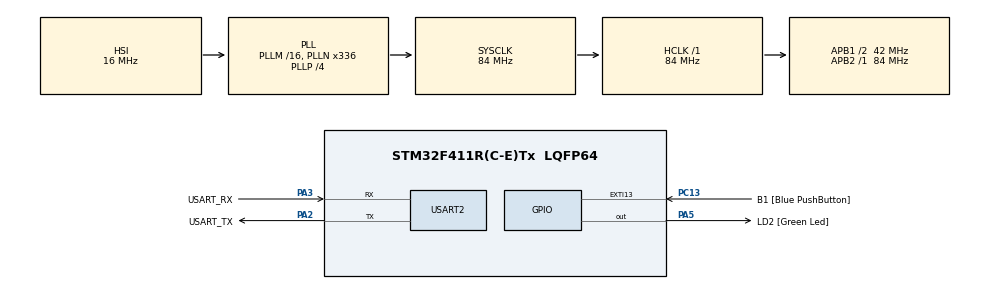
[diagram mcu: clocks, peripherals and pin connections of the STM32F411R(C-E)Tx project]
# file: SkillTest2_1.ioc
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Mcu.Family=STM32F4
Mcu.Name=STM32F411R(C-E)Tx
Mcu.Package=LQFP64
NVIC.PriorityGroup=NVIC_PRIORITYGROUP_0
NVIC.USART2_IRQn=true\:0\:0\:false\:false\:true\:true\:true\:true
PA13.GPIO_Label=TMS
PA13.Mode=Serial_Wire
PA13.Signal=SYS_JTMS-SWDIO
PA14.GPIO_Label=TCK
PA14.Mode=Serial_Wire
PA14.Signal=SYS_JTCK-SWCLK
PA2.GPIO_Label=USART_TX
PA2.Mode=Asynchronous
PA2.Signal=USART2_TX
PA3.GPIO_Label=USART_RX
PA3.Mode=Asynchronous
PA3.Signal=USART2_RX
PA5.GPIO_Label=LD2 [Green Led]
PA5.Signal=GPIO_Output
PB3.GPIO_Label=SWO
PB3.Signal=SYS_JTDO-SWO
PC13-ANTI_TAMP.GPIO_Label=B1 [Blue PushButton]
PC13-ANTI_TAMP.GPIO_ModeDefaultEXTI=GPIO_MODE_IT_FALLING
PC13-ANTI_TAMP.Signal=GPXTI13
PC14-OSC32_IN.Mode=LSE-External-Oscillator
PC14-OSC32_IN.Signal=RCC_OSC32_IN
PC15-OSC32_OUT.Mode=LSE-External-Oscillator
PC15-OSC32_OUT.Signal=RCC_OSC32_OUT
PH0\ -\ OSC_IN.Mode=HSE-External-Clock-Source
PH0\ -\ OSC_IN.Signal=RCC_OSC_IN
PH1\ -\ OSC_OUT.Mode=HSE-External-Clock-Source
PH1\ -\ OSC_OUT.Signal=RCC_OSC_OUT
ProjectManager.HeapSize=0x200
ProjectManager.StackSize=0x400
ProjectManager.TargetToolchain=STM32CubeIDE
RCC.48MHZClocksFreq_Value=84000000
RCC.AHBFreq_Value=84000000
RCC.APB1CLKDivider=RCC_HCLK_DIV2
RCC.APB1Freq_Value=42000000
RCC.APB1TimFreq_Value=84000000
RCC.APB2Freq_Value=84000000
RCC.APB2TimFreq_Value=84000000
RCC.CortexFreq_Value=84000000
RCC.FLatency-AdvancedSettings=FLASH_LATENCY_2
RCC.HCLKFreq_Value=84000000
RCC.HSE_VALUE=8000000
RCC.HSI_VALUE=16000000
RCC.PLLN=336
RCC.PLLP=RCC_PLLP_DIV4
RCC.SYSCLKFreq_VALUE=84000000
RCC.SYSCLKSource=RCC_SYSCLKSOURCE_PLLCLK
RCC.VCOOutputFreq_Value=336000000
USART2.VirtualMode=VM_ASYNC
board=NUCLEO-F411RE

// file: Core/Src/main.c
/* USER CODE BEGIN Header */
/**
  ******************************************************************************
  * @file           : main.c
  * @brief          : Main program body
  ******************************************************************************
  * @attention
  *
  * Copyright (c) 2023 STMicroelectronics.
  * All rights reserved.
  *
  * This software is licensed under terms that can be found in the LICENSE file
  * in the root directory of this software component.
  * If no LICENSE file comes with this software, it is provided AS-IS.
  *
  ******************************************************************************
  */
/* USER CODE END Header */
#include "main.h"

UART_HandleTypeDef huart2;

void SystemClock_Config(void);
static void MX_GPIO_Init(void);
static void MX_USART2_UART_Init(void);

/* USER CODE BEGIN 0 */
char text;
char memo[32];
int i = 0;
/* USER CODE END 0 */

int main(void)
{

  /* MCU Configuration--------------------------------------------------------*/

  /* Reset of all peripherals, Initializes the Flash interface and the Systick. */
  HAL_Init();

  /* Configure the system clock */
  SystemClock_Config();

  /* Initialize all configured peripherals */
  MX_GPIO_Init();
  MX_USART2_UART_Init();
  /* USER CODE BEGIN 2 */
  HAL_UART_Receive_IT(&huart2, &text, 1);
  /* USER CODE END 2 */

  /* Infinite loop */
  while (1)
  {

    /* USER CODE BEGIN 3 */
	  HAL_GPIO_TogglePin(GPIOA, GPIO_PIN_5);
	  HAL_Delay(100);
  }
  /* USER CODE END 3 */
}

void SystemClock_Config(void)
{
  RCC_OscInitTypeDef RCC_OscInitStruct = {0};
  RCC_ClkInitTypeDef RCC_ClkInitStruct = {0};

  /** Configure the main internal regulator output voltage
  */
  __HAL_RCC_PWR_CLK_ENABLE();
  __HAL_PWR_VOLTAGESCALING_CONFIG(PWR_REGULATOR_VOLTAGE_SCALE1);

  /** Initializes the RCC Oscillators according to the specified parameters
  * in the RCC_OscInitTypeDef structure.
  */
  RCC_OscInitStruct.OscillatorType = RCC_OSCILLATORTYPE_HSI;
  RCC_OscInitStruct.HSIState = RCC_HSI_ON;
  RCC_OscInitStruct.HSICalibrationValue = RCC_HSICALIBRATION_DEFAULT;
  RCC_OscInitStruct.PLL.PLLState = RCC_PLL_ON;
  RCC_OscInitStruct.PLL.PLLSource = RCC_PLLSOURCE_HSI;
  RCC_OscInitStruct.PLL.PLLM = 16;
  RCC_OscInitStruct.PLL.PLLN = 336;
  RCC_OscInitStruct.PLL.PLLP = RCC_PLLP_DIV4;
  RCC_OscInitStruct.PLL.PLLQ = 4;
  if (HAL_RCC_OscConfig(&RCC_OscInitStruct) != HAL_OK)
  {
    Error_Handler();
  }

  /** Initializes the CPU, AHB and APB buses clocks
  */
  RCC_ClkInitStruct.ClockType = RCC_CLOCKTYPE_HCLK|RCC_CLOCKTYPE_SYSCLK
                              |RCC_CLOCKTYPE_PCLK1|RCC_CLOCKTYPE_PCLK2;
  RCC_ClkInitStruct.SYSCLKSource = RCC_SYSCLKSOURCE_PLLCLK;
  RCC_ClkInitStruct.AHBCLKDivider = RCC_SYSCLK_DIV1;
  RCC_ClkInitStruct.APB1CLKDivider = RCC_HCLK_DIV2;
  RCC_ClkInitStruct.APB2CLKDivider = RCC_HCLK_DIV1;

  if (HAL_RCC_ClockConfig(&RCC_ClkInitStruct, FLASH_LATENCY_2) != HAL_OK)
  {
    Error_Handler();
  }
}

static void MX_USART2_UART_Init(void)
{

  huart2.Instance = USART2;
  huart2.Init.BaudRate = 115200;
  huart2.Init.WordLength = UART_WORDLENGTH_8B;
  huart2.Init.StopBits = UART_STOPBITS_1;
  huart2.Init.Parity = UART_PARITY_NONE;
  huart2.Init.Mode = UART_MODE_TX_RX;
  huart2.Init.HwFlowCtl = UART_HWCONTROL_NONE;
  huart2.Init.OverSampling = UART_OVERSAMPLING_16;
  if (HAL_UART_Init(&huart2) != HAL_OK)
  {
    Error_Handler();
  }

}

static void MX_GPIO_Init(void)
{
  GPIO_InitTypeDef GPIO_InitStruct = {0};

  /* GPIO Ports Clock Enable */
  __HAL_RCC_GPIOC_CLK_ENABLE();
  __HAL_RCC_GPIOH_CLK_ENABLE();
  __HAL_RCC_GPIOA_CLK_ENABLE();
  __HAL_RCC_GPIOB_CLK_ENABLE();

  /*Configure GPIO pin Output Level */
  HAL_GPIO_WritePin(LD2_GPIO_Port, LD2_Pin, GPIO_PIN_RESET);

  /*Configure GPIO pin : B1_Pin */
  GPIO_InitStruct.Pin = B1_Pin;
  GPIO_InitStruct.Mode = GPIO_MODE_IT_FALLING;
  GPIO_InitStruct.Pull = GPIO_NOPULL;
  HAL_GPIO_Init(B1_GPIO_Port, &GPIO_InitStruct);

  /*Configure GPIO pin : LD2_Pin */
  GPIO_InitStruct.Pin = LD2_Pin;
  GPIO_InitStruct.Mode = GPIO_MODE_OUTPUT_PP;
  GPIO_InitStruct.Pull = GPIO_NOPULL;
  GPIO_InitStruct.Speed = GPIO_SPEED_FREQ_LOW;
  HAL_GPIO_Init(LD2_GPIO_Port, &GPIO_InitStruct);

}

/* USER CODE BEGIN 4 */
void HAL_UART_RxCpltCallback(UART_HandleTypeDef *huart) {
	if (huart -> Instance == USART2) {
		if (text == '\n' || text == '\r') {
			while (i) {
				HAL_UART_Transmit(&huart2, &memo[i - 1], 1, 100);
				i--;
			}
		} else {
			HAL_UART_Transmit(&huart2, &text, 1, 100);
			memo[i] = text;
			i++;
		}
	}
	HAL_UART_Receive_IT(&huart2, &text, 1);
}
/* USER CODE END 4 */

void Error_Handler(void)
{
  __disable_irq();
  while (1)
  {
  }
}
